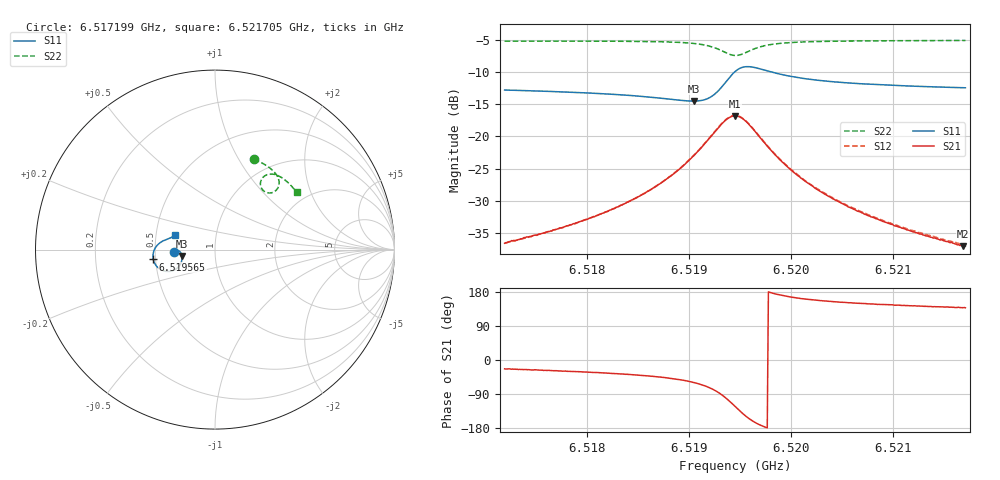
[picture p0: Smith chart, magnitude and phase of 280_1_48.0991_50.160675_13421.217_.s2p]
#  HZ  S  RI  R  50.00
! Rohde & Schwarz Vector Network Analyzer
! Rohde-Schwarz,ZNB20-2Port,1311601062101988,3.16
! Created: UTC 12/23/2023, 4:02:39 AM
! freq[Hz]  re:S11  im:S11  re:S21  im:S21  re:S12  im:S12  re:S22  im:S22
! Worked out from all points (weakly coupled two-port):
!   401 points, 6.517199 GHz to 6.521705 GHz, reference 50 ohm
!   highest |S21| = -16.80 dB at 6.519452 GHz (marker M1); lowest = -37.0 dB at 6.521683 GHz (marker M2)
!   lowest |S11| = -14.5 dB at 6.519047 GHz (marker M3), VSWR 1.46, Z = 34.3 - j2.5 ohm
!   |S11| at or under -10 dB: start of sweep to 6.519448 GHz; 6.519809 GHz to end of sweep
!   |S22| runs from -7.4 to -5.1 dB; largest |S21 - S12| = 0.0044
!   S11 on the Smith chart (normalised r, x): 6.517199 GHz: 0.63, -0.02; 6.519565 GHz: 0.49, -0.06; 6.521705 GHz: 0.63, +0.10
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6.517199e9  -0.2289 -0.013  0.0136 -0.00587  0.0139 -0.00551  0.2173 0.5038
6.517537e9  -0.2248 -0.00823  0.0156 -0.0078  0.0158 -0.0073  0.2422 0.4927
6.5179538e9  -0.2185 -0.00376  0.0189 -0.0114  0.0192 -0.0109  0.273 0.4763
6.5183368e9  -0.2103 -0.0025  0.0234 -0.0176  0.024 -0.0167  0.3017 0.4574
6.5187086e9  -0.1986 -0.00834  0.0302 -0.0299  0.0312 -0.0291  0.3307 0.4317
6.5188888e9  -0.1911 -0.0178  0.0342 -0.0421  0.0357 -0.0413  0.3447 0.4134
6.5190466e9  -0.1848 -0.0352  0.0361 -0.0605  0.0382 -0.0599  0.3549 0.3901
6.519148e9  -0.1842 -0.0549  0.0333 -0.0797  0.0361 -0.0791  0.3572 0.3691
6.5192268e9  -0.1904 -0.0767  0.0244 -0.0995  0.0275 -0.0993  0.3527 0.3486
6.519362e9  -0.2372 -0.1179  -0.0235 -0.1319  -0.02 -0.1337  0.3157 0.3166
6.5194521e9  -0.2976 -0.1138  -0.0774 -0.1221  -0.0745 -0.1252  0.2737 0.325
6.5195085e9  -0.3287 -0.0883  -0.1023 -0.0961  -0.1003 -0.0998  0.2566 0.3472
6.5195648e9  -0.3439 -0.0547  -0.1119 -0.0655  -0.1108 -0.0691  0.2532 0.3727
6.5196774e9  -0.3378 -0.000457  -0.1005 -0.0195  -0.1009 -0.0227  0.2727 0.4075
6.5197901e9  -0.3178 0.0283  -0.0804 0.00166  -0.0811 -0.000714  0.2985 0.4197
6.5199929e9  -0.2891 0.0486  -0.054 0.0131  -0.0549 0.0117  0.3339 0.4185
6.5202069e9  -0.2703 0.0566  -0.0384 0.0148  -0.0392 0.0139  0.3594 0.4082
6.5205674e9  -0.2521 0.0634  -0.0247 0.0137  -0.0256 0.0132  0.3905 0.3876
6.5209617e9  -0.2401 0.0691  -0.0174 0.0119  -0.0179 0.0116  0.4164 0.3639
6.521311e9  -0.2324 0.0737  -0.0134 0.0106  -0.0139 0.0103  0.436 0.3426
6.5216827e9  -0.2255 0.0787  -0.0105 0.00942  -0.011 0.00948  0.4548 0.3195
6.5217053e9  -0.2252 0.079  -0.0104 0.00945  -0.0108 0.00931  0.456 0.3182
